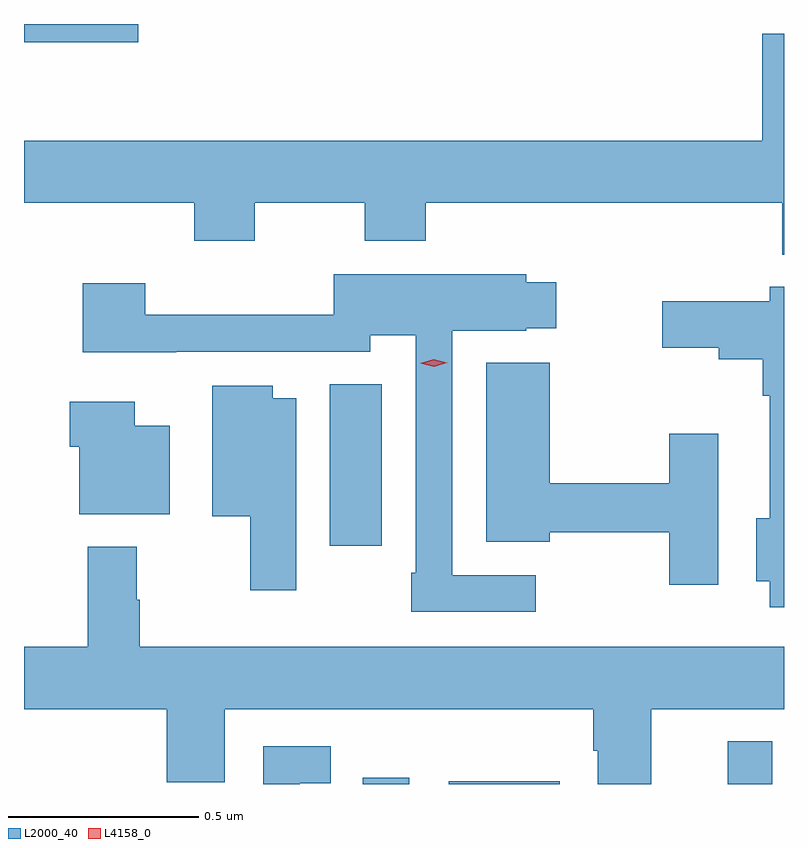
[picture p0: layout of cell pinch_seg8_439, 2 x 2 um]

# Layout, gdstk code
import gdstk
lib = gdstk.Library(unit=1e-6, precision=1e-09)
def R(c, l, rs):  # rectangles x0, y0, x1, y1
    for r in rs: c.add(gdstk.rectangle(r[:2], r[2:], *l))
def P(c, l, *ps):  # polygons
    for p in ps: c.add(gdstk.Polygon(p, *l))
L2000_40 = (2000, 40)
L4158_0 = (4158, 0)

pinch_seg8_439 = lib.new_cell('pinch_seg8_439')
R(pinch_seg8_439, L2000_40, [(258.677,1134.951,258.799,1134.967), (258.903,1134.951,259.195,1134.958), (259.637,1134.951,259.754,1135.063), (258.59,1135.578,258.727,1136.003), (257.785,1136.903,258.085,1136.951)])
P(pinch_seg8_439, L2000_40, [(259.785,1136.926),(259.728,1136.926),(259.728,1136.644),(257.785,1136.644),(257.785,1136.48),(258.233,1136.48),(258.233,1136.381),(258.392,1136.381),(258.392,1136.48),(258.682,1136.48),(258.682,1136.381),(258.842,1136.381),(258.842,1136.48),(259.781,1136.48),(259.781,1136.344),(259.785,1136.344)],
  [(259.132,1135.5),(258.912,1135.5),(258.912,1136.144),(259.107,1136.144),(259.107,1136.15),(259.186,1136.15),(259.186,1136.272),(259.107,1136.272),(259.107,1136.293),(258.6,1136.293),(258.6,1136.186),(258.104,1136.186),(258.104,1136.269),(257.939,1136.269),(257.939,1136.087),(258.185,1136.087),(258.185,1136.088),(258.696,1136.088),(258.696,1136.132),(258.816,1136.132),(258.816,1135.507),(258.804,1135.507),(258.804,1135.404),(259.132,1135.404)],
  [(259.785,1136.259),(259.748,1136.259),(259.748,1136.221),(259.464,1136.221),(259.464,1136.099),(259.613,1136.099),(259.613,1136.069),(259.729,1136.069),(259.729,1135.973),(259.748,1135.973),(259.748,1135.65),(259.712,1135.65),(259.712,1135.484),(259.748,1135.484),(259.748,1135.416),(259.785,1135.416)],
  [(259.612,1135.873),(259.483,1135.873),(259.483,1135.742),(259.168,1135.742),(259.168,1136.059),(259.001,1136.059),(259.001,1135.589),(259.168,1135.589),(259.168,1135.614),(259.483,1135.614),(259.483,1135.476),(259.612,1135.476)],
  [(258.502,1135.966),(258.439,1135.966),(258.439,1135.999),(258.281,1135.999),(258.281,1135.655),(258.38,1135.655),(258.38,1135.461),(258.502,1135.461)],
  [(258.169,1135.894),(258.076,1135.894),(258.076,1135.957),(257.906,1135.957),(257.906,1135.839),(257.93,1135.839),(257.93,1135.661),(258.169,1135.661)],
  [(259.435,1135.148),(259.785,1135.148),(259.785,1135.312),(258.089,1135.312),(258.089,1135.436),(258.082,1135.436),(258.082,1135.576),(257.953,1135.576),(257.953,1135.312),(257.785,1135.312),(257.785,1135.148),(258.161,1135.148),(258.161,1134.956),(258.313,1134.956),(258.313,1135.148),(259.283,1135.148),(259.283,1135.038),(259.295,1135.038),(259.295,1134.951),(259.435,1134.951)],
  [(258.51,1134.953),(258.592,1134.953),(258.592,1135.05),(258.414,1135.05),(258.414,1134.951),(258.51,1134.951)])
P(pinch_seg8_439, L4158_0, [(258.864,1136.049),(258.828,1136.058),(258.828,1136.058),(258.828,1136.058),(258.863,1136.069),(258.898,1136.06),(258.899,1136.059),(258.898,1136.059)])

lib.write_gds('pinch_seg8_439.gds')
